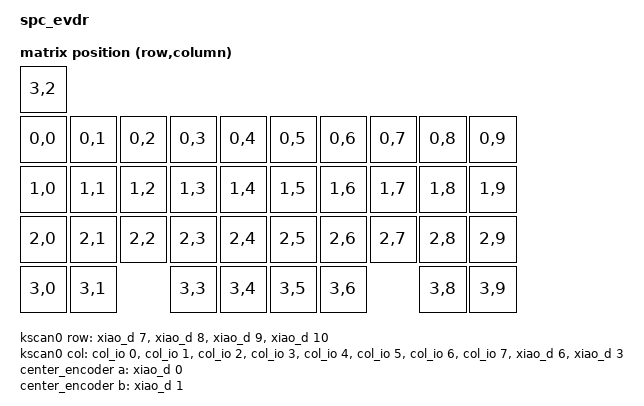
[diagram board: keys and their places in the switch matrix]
/*
 * Copyright (c) 2022 @weteor
 *
 * SPDX-License-Identifier: MIT
 */

#include <dt-bindings/zmk/matrix_transform.h>

/ {
    model = "spc_evdr";
    compatible = "weteor,spc_evdr";
	
    chosen {
		zephyr,display = &oled;
		zmk,kscan = &kscan0;
		zmk,matrix_transform = &default_transform;
	};

	default_transform: keymap_transform_0 {
		compatible = "zmk,matrix-transform";
		rows = <4>;
		columns = <10>;
		map = <
		RC(3,2)
		RC(0,0) RC(0,1) RC(0,2) RC(0,3) RC(0,4)   RC(0,5) RC(0,6) RC(0,7) RC(0,8) RC(0,9)
		RC(1,0) RC(1,1) RC(1,2) RC(1,3) RC(1,4)   RC(1,5) RC(1,6) RC(1,7) RC(1,8) RC(1,9)
		RC(2,0) RC(2,1) RC(2,2) RC(2,3) RC(2,4)   RC(2,5) RC(2,6) RC(2,7) RC(2,8) RC(2,9)
		RC(3,0) RC(3,1)         RC(3,3) RC(3,4)   RC(3,5) RC(3,6)         RC(3,8) RC(3,9)
		>;
	};

	kscan0: kscan {
		compatible = "zmk,kscan-gpio-matrix";
		label = "KSCAN";

		diode-direction = "col2row";
		col-gpios
			= <&col_io 0 GPIO_ACTIVE_HIGH>
			, <&col_io 1 GPIO_ACTIVE_HIGH>
			, <&col_io 2 GPIO_ACTIVE_HIGH>
			, <&col_io 3 GPIO_ACTIVE_HIGH>
			, <&col_io 4 GPIO_ACTIVE_HIGH>
			, <&col_io 5 GPIO_ACTIVE_HIGH>
			, <&col_io 6 GPIO_ACTIVE_HIGH>
			, <&col_io 7 GPIO_ACTIVE_HIGH>
			, <&xiao_d 6 GPIO_ACTIVE_HIGH>
			, <&xiao_d 3 GPIO_ACTIVE_HIGH>
			;
		row-gpios
			= <&xiao_d 7 (GPIO_ACTIVE_HIGH | GPIO_PULL_DOWN)>
			, <&xiao_d 8 (GPIO_ACTIVE_HIGH | GPIO_PULL_DOWN)>
			, <&xiao_d 9 (GPIO_ACTIVE_HIGH | GPIO_PULL_DOWN)>
			, <&xiao_d 10 (GPIO_ACTIVE_HIGH | GPIO_PULL_DOWN)>
			;
	};

	center_encoder: encoder_center {
		compatible = "alps,ec11";
		label = "CENTER_ENCODER";
		a-gpios = <&xiao_d 0 (GPIO_ACTIVE_HIGH | GPIO_PULL_UP)>;
		b-gpios = <&xiao_d 1 (GPIO_ACTIVE_HIGH | GPIO_PULL_UP)>;
		resolution = <2>;
		status = "okay";
	};

	sensors: sensors {
		compatible = "zmk,keymap-sensors";
		status = "okay";
        sensors = <&center_encoder>;
	};

};

&xiao_i2c {
	status = "okay";
	clock-frequency = <I2C_BITRATE_FAST>;
	
	oled: ssd1306@3c {
		compatible = "solomon,ssd1306fb";
		reg = <0x3c>;
		label = "DISPLAY";
		width = <128>;
		height = <32>;
		segment-offset = <0>;
		page-offset = <0>;
		display-offset = <0>;
		multiplex-ratio = <31>;
		segment-remap;
		com-invdir;
		com-sequential;
		prechargep = <0x22>;
	};
	
	col_io: pca95xx@20 {
	    compatible = "nxp,pca95xx";
	    status = "okay";
	    gpio-controller;
	    reg = <0x20>;
	    label = "PCA9555";
	    #gpio-cells = <2>;
	    ngpios = <8>;
	};
};
